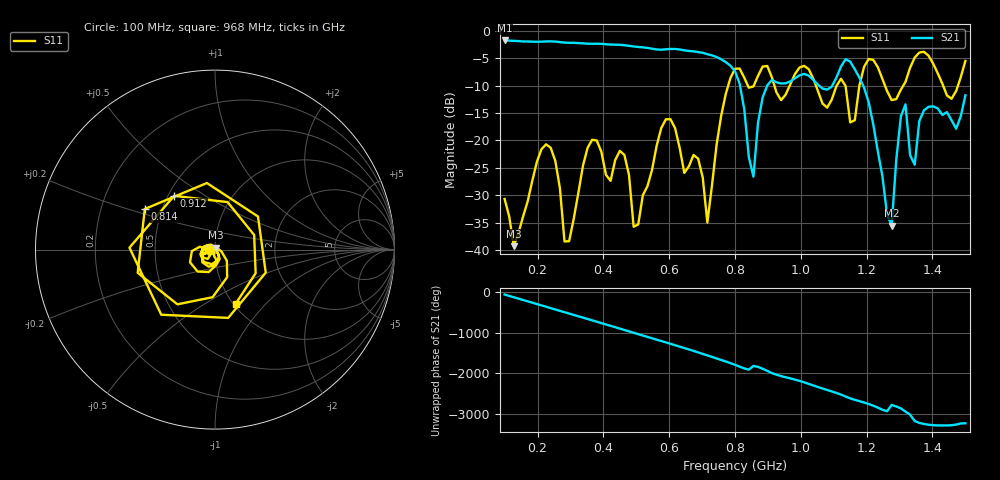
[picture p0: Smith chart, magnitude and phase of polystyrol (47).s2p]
! NanoVNA-App
! Date: 2025-09-26 09:42:15
! Start: 100MHz Stop: 1,5GHz Points: 101
! S-Parameter data: F S11 S21 S12 S22
# Hz S RI R 50
!  Frequency  S11_Real  S11_Imag  S21_Real  S21_Imag  S12_Real  S12_Imag  S22_Real  S22_Imag
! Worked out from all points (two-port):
!   101 points, 100 MHz to 1.5 GHz, reference 50 ohm
!   highest |S21| = -1.79 dB at 100 MHz (marker M1); lowest = -35.5 dB at 1.276 GHz (marker M2)
!   |S21| within 3 dB of the highest: start of sweep to 743.5 MHz
!   lowest |S11| = -39.3 dB at 128 MHz (marker M3), VSWR 1.02, Z = 50.3 + j1.06 ohm
!   |S11| at or under -10 dB: start of sweep to 779.4 MHz; 1.046 GHz to 1.109 GHz (63.38 MHz wide, 5.88 % of centre); 1.256 GHz to 1.311 GHz (55.73 MHz wide, 4.34 % of centre)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
!   S12 and S22 are empty: the file has one direction only
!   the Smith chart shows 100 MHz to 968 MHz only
!   S11 on the Smith chart (normalised r, x): 100 MHz: 0.94, -0.01; 814 MHz: 0.40, +0.23; 912 MHz: 0.54, +0.38; 968 MHz: 1.02, -0.69
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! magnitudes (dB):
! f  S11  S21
! 100 MHz  -30.7  -1.8
! 128 MHz  -39.3  -1.9
! 212 MHz  -21.6  -2.0
! 254 MHz  -23.7  -2.0
! 282 MHz  -38.4  -2.2
! 338 MHz  -24.6  -2.3
! 464 MHz  -22.6  -2.7
! 492 MHz  -35.7  -2.9
! 576 MHz  -17.7  -3.5
! 688 MHz  -23.3  -3.9
! 716 MHz  -35.0  -4.3
! 800 MHz  -6.9  -7.4
! 814 MHz  -6.9  -9.7
! 856 MHz  -10.2  -26.6
! 912 MHz  -8.5  -9.0
! 968 MHz  -9.8  -9.2
! 1.038 GHz  -8.8  -9.0
! 1.178 GHz  -10.0  -8.5
! 1.276 GHz  -12.6  -35.5
! 1.318 GHz  -9.3  -13.4
! 1.346 GHz  -4.9  -24.4
! 1.5 GHz  -5.5  -11.8
